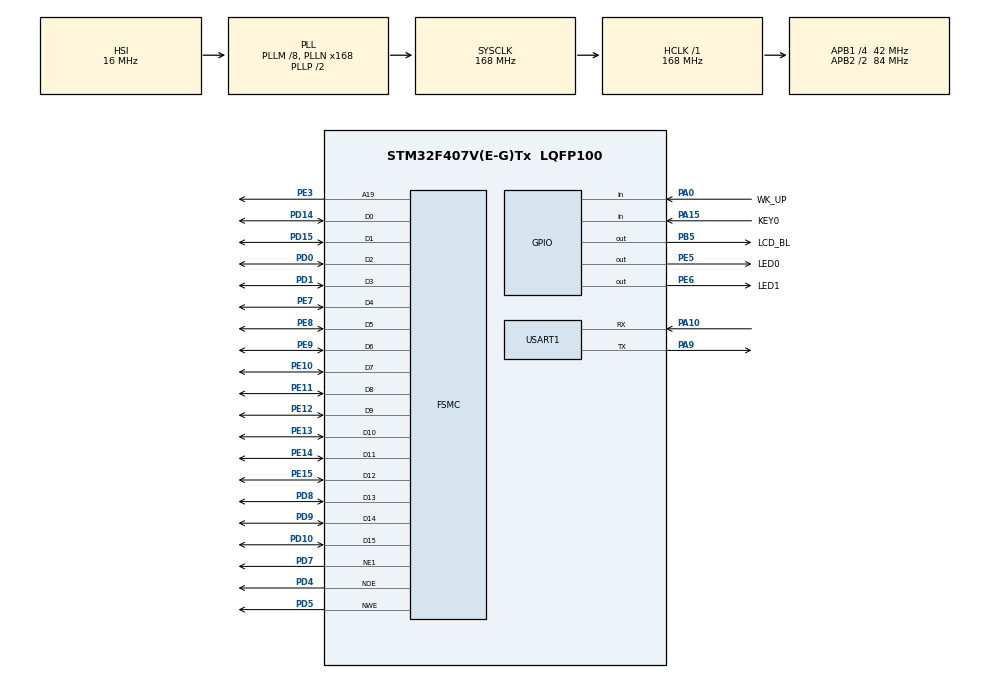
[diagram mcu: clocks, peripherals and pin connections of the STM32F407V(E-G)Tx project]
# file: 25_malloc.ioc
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FSMC.AddressSetupTime1=15
FSMC.BusTurnAroundDuration1=0
FSMC.DataSetupTime1=60
FSMC.ExtendedAddressSetupTime1=9
FSMC.ExtendedDataSetupTime1=9
FSMC.ExtendedMode1=FSMC_EXTENDED_MODE_ENABLE
Mcu.Family=STM32F4
Mcu.Name=STM32F407V(E-G)Tx
Mcu.Package=LQFP100
NVIC.PriorityGroup=NVIC_PRIORITYGROUP_2
NVIC.TIM4_IRQn=true\:2\:1\:true\:false\:true\:true\:true\:true
NVIC.USART1_IRQn=true\:2\:2\:true\:false\:true\:true\:true\:true
PA0-WKUP.GPIO_Label=WK_UP
PA0-WKUP.GPIO_PuPd=GPIO_PULLDOWN
PA0-WKUP.Signal=GPIO_Input
PA10.Mode=Asynchronous
PA10.Signal=USART1_RX
PA13.Mode=Serial_Wire
PA13.Signal=SYS_JTMS-SWDIO
PA14.Mode=Serial_Wire
PA14.Signal=SYS_JTCK-SWCLK
PA15.GPIO_Label=KEY0
PA15.GPIO_PuPd=GPIO_PULLDOWN
PA15.Signal=GPIO_Input
PA9.Mode=Asynchronous
PA9.Signal=USART1_TX
PB5.GPIO_Label=LCD_BL
PB5.GPIO_PuPd=GPIO_PULLUP
PB5.GPIO_Speed=GPIO_SPEED_FREQ_HIGH
PB5.PinState=GPIO_PIN_SET
PB5.Signal=GPIO_Output
PC14-OSC32_IN.Mode=LSE-External-Oscillator
PC14-OSC32_IN.Signal=RCC_OSC32_IN
PC15-OSC32_OUT.Mode=LSE-External-Oscillator
PC15-OSC32_OUT.Signal=RCC_OSC32_OUT
PD0.Mode=16b-d1
PD0.Signal=FSMC_D2
PD1.Mode=16b-d1
PD1.Signal=FSMC_D3
PD10.Mode=16b-d1
PD10.Signal=FSMC_D15
PD14.Mode=16b-d1
PD14.Signal=FSMC_D0
PD15.Mode=16b-d1
PD15.Signal=FSMC_D1
PD4.Mode=Lcd1
PD4.Signal=FSMC_NOE
PD5.Mode=Lcd1
PD5.Signal=FSMC_NWE
PD7.Mode=NorPsramChipSelect1_1
PD7.Signal=FSMC_NE1
PD8.Mode=16b-d1
PD8.Signal=FSMC_D13
PD9.Mode=16b-d1
PD9.Signal=FSMC_D14
PE10.Mode=16b-d1
PE10.Signal=FSMC_D7
PE11.Mode=16b-d1
PE11.Signal=FSMC_D8
PE12.Mode=16b-d1
PE12.Signal=FSMC_D9
PE13.Mode=16b-d1
PE13.Signal=FSMC_D10
PE14.Mode=16b-d1
PE14.Signal=FSMC_D11
PE15.Mode=16b-d1
PE15.Signal=FSMC_D12
PE3.Mode=A19_1
PE3.Signal=FSMC_A19
PE5.GPIO_Label=LED0
PE5.GPIO_PuPd=GPIO_PULLUP
PE5.GPIO_Speed=GPIO_SPEED_FREQ_HIGH
PE5.PinState=GPIO_PIN_SET
PE5.Signal=GPIO_Output
PE6.GPIO_Label=LED1
PE6.GPIO_PuPd=GPIO_PULLUP
PE6.GPIO_Speed=GPIO_SPEED_FREQ_HIGH
PE6.PinState=GPIO_PIN_SET
PE6.Signal=GPIO_Output
PE7.Mode=16b-d1
PE7.Signal=FSMC_D4
PE8.Mode=16b-d1
PE8.Signal=FSMC_D5
PE9.Mode=16b-d1
PE9.Signal=FSMC_D6
PH0-OSC_IN.Mode=HSE-External-Oscillator
PH0-OSC_IN.Signal=RCC_OSC_IN
PH1-OSC_OUT.Mode=HSE-External-Oscillator
PH1-OSC_OUT.Signal=RCC_OSC_OUT
ProjectManager.HeapSize=0x200
ProjectManager.StackSize=0x400
ProjectManager.TargetToolchain=STM32CubeIDE
RCC.48MHZClocksFreq_Value=84000000
RCC.AHBFreq_Value=168000000
RCC.APB1CLKDivider=RCC_HCLK_DIV4
RCC.APB1Freq_Value=42000000
RCC.APB1TimFreq_Value=84000000
RCC.APB2CLKDivider=RCC_HCLK_DIV2
RCC.APB2Freq_Value=84000000
RCC.APB2TimFreq_Value=168000000
RCC.CortexFreq_Value=168000000
RCC.HCLKFreq_Value=168000000
RCC.HSE_VALUE=25000000
RCC.HSI_VALUE=16000000
RCC.PLLM=8
RCC.PLLN=168
RCC.SYSCLKFreq_VALUE=168000000
RCC.SYSCLKSource=RCC_SYSCLKSOURCE_PLLCLK
RCC.VCOOutputFreq_Value=336000000
TIM4.AutoReloadPreload=TIM_AUTORELOAD_PRELOAD_ENABLE
TIM4.Period=1000
TIM4.Prescaler=8400-1
USART1.VirtualMode=VM_ASYNC
VP_TIM4_VS_ClockSourceINT.Mode=Internal
board=custom

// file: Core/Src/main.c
/**
 ****************************************************************************************************
 * @file        main.c
 * @author      ALIENTEK
 * @brief       malloc code
 * @license     Copyright (C) 2012-2024, ALIENTEK
 ****************************************************************************************************
 * @attention
 *
 * platform     : ALIENTEK M100-STM32F407 board
 * website      : www.alientek.com
 * forum        : www.openedv.com/forum.php
 *
 * change logs  :
 * version      data         notes
 * V1.0         20240409     the first version
 *
 ****************************************************************************************************
 */

 /* USER CODE BEGIN Header */

/* USER CODE END Header */
#include "main.h"
#include "tim.h"
#include "usart.h"
#include "gpio.h"
#include "fsmc.h"

/* USER CODE BEGIN Includes */
#include "../../ATK_Middlewares/MALLOC/malloc.h"
#include "../../BSP/LED/led.h"
#include "../../BSP/KEY/key.h"
#include "../../BSP/LCD/lcd.h"
/* USER CODE END Includes */

/* USER CODE BEGIN PD */
/**
 * @brief   Displays information about the experiment
 * @param   None
 * @retval  None
 */
void stm32f407vg_show_mesg(void)
{
	/* The serial port outputs the experimental information */
	printf("\n");
	printf("********************************\r\n");
	printf("STM32F407\r\n");
	printf("MALLOC Test\r\n");
	printf("ATOM@ALIENTEK\r\n");
	printf("********************************\r\n");
	printf("\r\n");
}
/* USER CODE END PD */

void SystemClock_Config(void);

int main(void)
{
  /* USER CODE BEGIN 1 */
  uint8_t t = 0;
  uint8_t key;
  uint8_t *p_sramin = NULL;
  uint8_t *p_sramccm = NULL;
  uint32_t tp_sramin = 0;
  uint32_t tp_sramccm = 0;
  uint8_t paddr[32];
  uint16_t memused;
  /* USER CODE END 1 */

  /* MCU Configuration--------------------------------------------------------*/

  /* Reset of all peripherals, Initializes the Flash interface and the Systick. */
  HAL_Init();

  /* Configure the system clock */
  SystemClock_Config();

  /* Initialize all configured peripherals */
  MX_GPIO_Init();
  MX_USART1_UART_Init();
  MX_FSMC_Init();
  MX_TIM4_Init();
  /* USER CODE BEGIN 2 */
  lcd_init();                                     /* Initialize LCD */
  my_mem_init(SRAMIN);                            /* Initialize the internal SRAM memory pool */
  my_mem_init(SRAMCCM);                           /* Initialize the CCM memory pool */
  stm32f407vg_show_mesg();

  lcd_show_string(30, 50, 200, 16, 16, "STM32", RED);
  lcd_show_string(30, 70, 200, 16, 16, "MALLOC TEST", RED);
  lcd_show_string(30, 90, 200, 16, 16, "ATOM@ALIENTEK", RED);

  lcd_show_string(30, 110, 200, 16, 16, "WK_UP:Malloc & WR & Show", RED);
  lcd_show_string(30, 130, 200, 16, 16, "KEY0:Free", RED);

  lcd_show_string(30, 160, 200, 16, 16, "SRAMIN USED:", BLUE);
  lcd_show_string(30, 180, 200, 16, 16, "SRAMCCM USED:", BLUE);
  /* USER CODE END 2 */

  /* Infinite loop */
  /* USER CODE BEGIN WHILE */
  while (1)
  {
	  key = key_scan(0);
	  if (key == WKUP_PRES)
	  {
	  	 /* request memory */
	  	 p_sramin = mymalloc(SRAMIN, 2048);
	  	 p_sramccm = mymalloc(SRAMCCM, 2048);

	  	 /* Determine if the memory request was successful */
	  	 if ((p_sramin != NULL) && (p_sramccm != NULL))
	  	 {
	  	     /* Use the requested memory */
	  	     sprintf((char *)p_sramin, "SRAMIN: Malloc Test%03d", t + SRAMIN);
	  	     lcd_show_string(30, 255, 239, 16, 16, (char *)p_sramin, BLUE);
	  	     sprintf((char *)p_sramccm, "SRAMCCM: Malloc Test%03d", t + SRAMCCM);
	  	     lcd_show_string(30, 270, 239, 16, 16, (char *)p_sramccm, BLUE);
	  	 }
	  	 else
	  	 {
	  	     myfree(SRAMIN, p_sramin);
	  	     myfree(SRAMCCM, p_sramccm);
	  	     p_sramin = NULL;
	  	     p_sramccm = NULL;
	  	 }
	  }
	  else if (key == KEY0_PRES)
	  {
	  	  /* free the memory */
	  	  myfree(SRAMIN, p_sramin);
	  	  myfree(SRAMCCM, p_sramccm);
	  	  p_sramin = NULL;
	  	  p_sramccm = NULL;
	  }

	  /* Shows the first memory address requested */
	  if (tp_sramin != (uint32_t)p_sramin || (tp_sramccm != (uint32_t)p_sramccm))
	  {
	  	  tp_sramin = (uint32_t)p_sramin;
	  	  tp_sramccm = (uint32_t)p_sramccm;

	  	  sprintf((char *)paddr, "SRAMIN: Addr: 0x%08X", (unsigned int)p_sramin);
	  	  lcd_show_string(30, 214, 239, 16, 16, (char *)paddr, BLUE);
	  	  sprintf((char *)paddr, "SRAMCCN: Addr: 0x%08X", (unsigned int)p_sramccm);
	  	  lcd_show_string(30, 230, 239, 16, 16, (char *)paddr, BLUE);
	  }
	  else if ((p_sramin == NULL) || (p_sramccm == NULL))
	  {
	  	  lcd_fill(30, 194, 239, 319, WHITE);
	  }

	  if (++t == 20)
	  {
	  	  t = 0;

	  	  /* Shows internal SRAM usage */
	  	  memused = my_mem_perused(SRAMIN);
	  	  sprintf((char *)paddr, "%d.%01d%%", memused / 10, memused % 10);
	  	  lcd_show_string(30 + 96, 160, 200, 16, 16, (char *)paddr, BLUE);

	  	  /* Show CCM usage */
	  	  memused = my_mem_perused(SRAMCCM);
	  	  sprintf((char *)paddr, "%d.%01d%%", memused / 10, memused % 10);
	  	  lcd_show_string(30 + 104, 180, 200, 16, 16, (char *)paddr, BLUE);

	  	  LED0_TOGGLE(); /* flashing LED0 indicates that the system is running */
	  }

	  HAL_Delay(10);       /* delay 10ms */
    /* USER CODE END WHILE */

  }
}

void SystemClock_Config(void)
{
  RCC_OscInitTypeDef RCC_OscInitStruct = {0};
  RCC_ClkInitTypeDef RCC_ClkInitStruct = {0};

  /** Configure the main internal regulator output voltage
  */
  __HAL_RCC_PWR_CLK_ENABLE();
  __HAL_PWR_VOLTAGESCALING_CONFIG(PWR_REGULATOR_VOLTAGE_SCALE1);

  /** Initializes the RCC Oscillators according to the specified parameters
  * in the RCC_OscInitTypeDef structure.
  */
  RCC_OscInitStruct.OscillatorType = RCC_OSCILLATORTYPE_HSI;
  RCC_OscInitStruct.HSIState = RCC_HSI_ON;
  RCC_OscInitStruct.HSICalibrationValue = RCC_HSICALIBRATION_DEFAULT;
  RCC_OscInitStruct.PLL.PLLState = RCC_PLL_ON;
  RCC_OscInitStruct.PLL.PLLSource = RCC_PLLSOURCE_HSI;
  RCC_OscInitStruct.PLL.PLLM = 8;
  RCC_OscInitStruct.PLL.PLLN = 168;
  RCC_OscInitStruct.PLL.PLLP = RCC_PLLP_DIV2;
  RCC_OscInitStruct.PLL.PLLQ = 4;
  if (HAL_RCC_OscConfig(&RCC_OscInitStruct) != HAL_OK)
  {
    Error_Handler();
  }

  /** Initializes the CPU, AHB and APB buses clocks
  */
  RCC_ClkInitStruct.ClockType = RCC_CLOCKTYPE_HCLK|RCC_CLOCKTYPE_SYSCLK
                              |RCC_CLOCKTYPE_PCLK1|RCC_CLOCKTYPE_PCLK2;
  RCC_ClkInitStruct.SYSCLKSource = RCC_SYSCLKSOURCE_PLLCLK;
  RCC_ClkInitStruct.AHBCLKDivider = RCC_SYSCLK_DIV1;
  RCC_ClkInitStruct.APB1CLKDivider = RCC_HCLK_DIV4;
  RCC_ClkInitStruct.APB2CLKDivider = RCC_HCLK_DIV2;

  if (HAL_RCC_ClockConfig(&RCC_ClkInitStruct, FLASH_LATENCY_5) != HAL_OK)
  {
    Error_Handler();
  }
}

void Error_Handler(void)
{
  __disable_irq();
  while (1)
  {
  }
}
